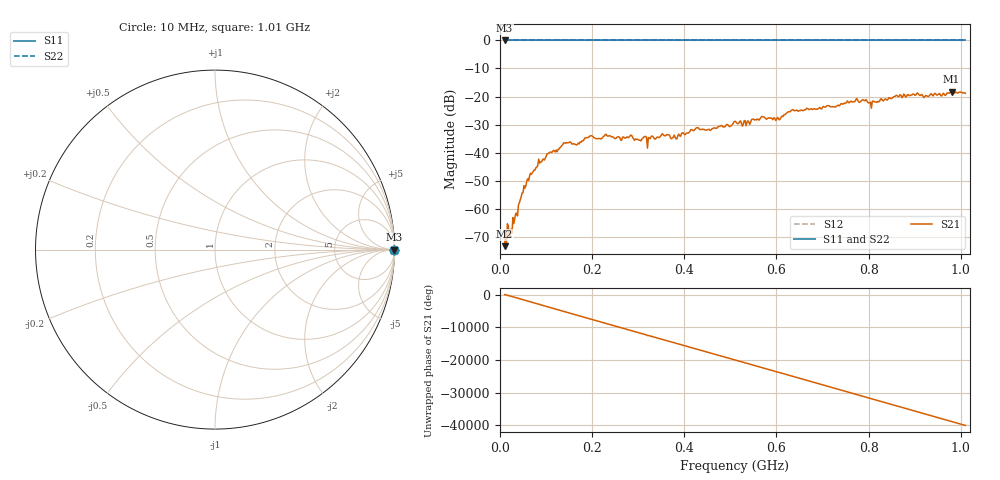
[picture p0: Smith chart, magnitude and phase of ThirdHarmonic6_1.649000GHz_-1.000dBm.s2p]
! 8/16/2025 7:44:35 PM
! C:\ANRITSUVNA\TEMP\TEMP.S2P
! CHANNEL.1
! TR.MEASUREMENT
! RAW.DATA
! RF.CORRECTION.OFF
! AVERAGING.OFF
! IF.BANDWIDTH: 5KHZ
! SWEEPTYPE:  FREQ.SWEEP(Linear)
! Reference Plane Port Info
! PORT:  PORT1  PORT2
! DISTANCE:  0  m  0  m
! TIME:  0  s  0  s
! PHASE.OFFSET:  0  deg.  0  deg.
! LOSS:  0  dB  0  dB
! REF.LOSS:  0  dB  0  dB
! REF.FREQ:  0  Hz  0  Hz
! Power Info
! POWER:  -20  dBm  -20  dBm
! EFF.POWER:  -20  dBm  -20  dBm
! SOURCE.ATTEN:  0  dB  0  dB
! TEST.ATTEN:  0  dB  0  dB
# GHZ S RI R 50.0
! FREQ.GHZ  S11RE  S11IM  S21RE  S21IM  S12RE  S12IM  S22RE  S22IM
!; PortSelection: Port_12
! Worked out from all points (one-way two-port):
!   501 points, 10 MHz to 1.01 GHz, reference 50 ohm
!   highest |S21| = -18.29 dB at 980 MHz (marker M1); lowest = -73.4 dB at 10 MHz (marker M2)
!   lowest |S11| = 0.0 dB at 10 MHz (marker M3)
!   |S11| at or under -10 dB: nowhere
!   |S22| runs from 0.0 to 0.0 dB; largest |S21 - S12| = 1.1
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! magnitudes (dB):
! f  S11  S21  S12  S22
! 10 MHz  0.0  -73.4  0.0  0.0
! 16 MHz  0.0  -65.4  0.0  0.0
! 26 MHz  0.0  -68.7  0.0  0.0
! 56 MHz  0.0  -51.9  0.0  0.0
! 82 MHz  0.0  -44.5  0.0  0.0
! 140 MHz  0.0  -36.5  0.0  0.0
! 178 MHz  0.0  -35.8  0.0  0.0
! 198 MHz  0.0  -34.0  0.0  0.0
! 302 MHz  0.0  -35.5  0.0  0.0
! 344 MHz  0.0  -34.6  0.0  0.0
! 380 MHz  0.0  -34.5  0.0  0.0
! 428 MHz  0.0  -31.1  0.0  0.0
! 454 MHz  0.0  -31.7  0.0  0.0
! 510 MHz  0.0  -28.8  0.0  0.0
! 538 MHz  0.0  -28.7  0.0  0.0
! 570 MHz  0.0  -27.2  0.0  0.0
! 602 MHz  0.0  -27.5  0.0  0.0
! 632 MHz  0.0  -25.0  0.0  0.0
! 678 MHz  0.0  -24.7  0.0  0.0
! 844 MHz  0.0  -20.4  0.0  0.0
! 980 MHz  0.0  -18.3  0.0  0.0
! 1.01 GHz  0.0  -18.8  0.0  0.0
